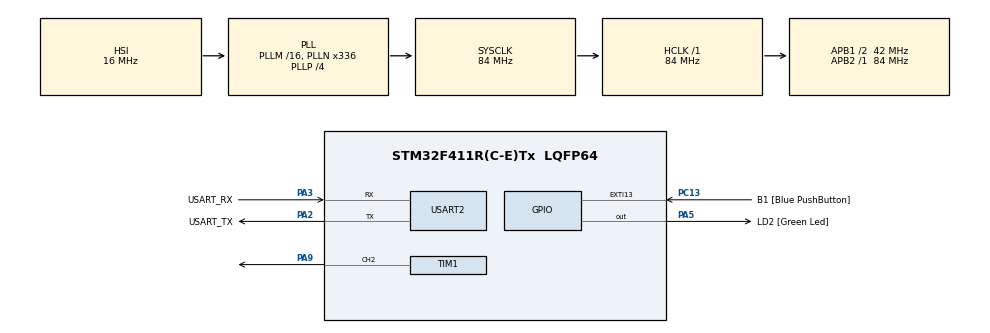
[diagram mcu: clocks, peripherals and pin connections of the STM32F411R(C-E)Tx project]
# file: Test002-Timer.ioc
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Mcu.Family=STM32F4
Mcu.Name=STM32F411R(C-E)Tx
Mcu.Package=LQFP64
NVIC.EXTI15_10_IRQn=true\:0\:0\:false\:false\:true\:true\:true\:true
NVIC.PriorityGroup=NVIC_PRIORITYGROUP_0
NVIC.TIM2_IRQn=true\:0\:0\:false\:false\:true\:true\:true\:true
NVIC.TIM3_IRQn=true\:0\:0\:false\:false\:true\:true\:true\:true
NVIC.TIM4_IRQn=true\:0\:0\:false\:false\:true\:true\:true\:true
PA13.GPIO_Label=TMS
PA13.Mode=Serial_Wire
PA13.Signal=SYS_JTMS-SWDIO
PA14.GPIO_Label=TCK
PA14.Mode=Serial_Wire
PA14.Signal=SYS_JTCK-SWCLK
PA2.GPIO_Label=USART_TX
PA2.Mode=Asynchronous
PA2.Signal=USART2_TX
PA3.GPIO_Label=USART_RX
PA3.Mode=Asynchronous
PA3.Signal=USART2_RX
PA5.GPIO_Label=LD2 [Green Led]
PA5.Signal=GPIO_Output
PA9.Signal=S_TIM1_CH2
PB3.GPIO_Label=SWO
PB3.Signal=SYS_JTDO-SWO
PC13-ANTI_TAMP.GPIO_Label=B1 [Blue PushButton]
PC13-ANTI_TAMP.GPIO_ModeDefaultEXTI=GPIO_MODE_IT_FALLING
PC13-ANTI_TAMP.Signal=GPXTI13
PC14-OSC32_IN.Mode=LSE-External-Oscillator
PC14-OSC32_IN.Signal=RCC_OSC32_IN
PC15-OSC32_OUT.Mode=LSE-External-Oscillator
PC15-OSC32_OUT.Signal=RCC_OSC32_OUT
PH0\ -\ OSC_IN.Mode=HSE-External-Clock-Source
PH0\ -\ OSC_IN.Signal=RCC_OSC_IN
PH1\ -\ OSC_OUT.Mode=HSE-External-Clock-Source
PH1\ -\ OSC_OUT.Signal=RCC_OSC_OUT
ProjectManager.HeapSize=0x200
ProjectManager.StackSize=0x400
ProjectManager.TargetToolchain=STM32CubeIDE
RCC.48MHZClocksFreq_Value=84000000
RCC.AHBFreq_Value=84000000
RCC.APB1CLKDivider=RCC_HCLK_DIV2
RCC.APB1Freq_Value=42000000
RCC.APB1TimFreq_Value=84000000
RCC.APB2Freq_Value=84000000
RCC.APB2TimFreq_Value=84000000
RCC.CortexFreq_Value=84000000
RCC.FLatency-AdvancedSettings=FLASH_LATENCY_2
RCC.HCLKFreq_Value=84000000
RCC.HSE_VALUE=8000000
RCC.HSI_VALUE=16000000
RCC.PLLN=336
RCC.PLLP=RCC_PLLP_DIV4
RCC.SYSCLKFreq_VALUE=84000000
RCC.SYSCLKSource=RCC_SYSCLKSOURCE_PLLCLK
RCC.VCOOutputFreq_Value=336000000
SH.S_TIM1_CH2.0=TIM1_CH2,PWM Generation2 CH2
TIM1.Channel-PWM\ Generation2\ CH2=TIM_CHANNEL_2
TIM1.Period=100-1
TIM1.Prescaler=840-1
TIM2.Period=2000-1
TIM2.Prescaler=8400-1
TIM3.AutoReloadPreload=TIM_AUTORELOAD_PRELOAD_DISABLE
TIM3.Period=30000-1
TIM3.Prescaler=8400-1
TIM4.Period=50000-1
TIM4.Prescaler=8400-1
USART2.VirtualMode=VM_ASYNC
VP_TIM1_VS_ClockSourceINT.Mode=Internal
VP_TIM2_VS_ClockSourceINT.Mode=Internal
VP_TIM3_VS_ClockSourceINT.Mode=Internal
VP_TIM4_VS_ClockSourceINT.Mode=Internal
board=NUCLEO-F411RE

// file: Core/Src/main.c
/* USER CODE BEGIN Header */
/**
  ******************************************************************************
  * @file           : main.c
  * @brief          : Main program body
  ******************************************************************************
  * @attention
  *
  * Copyright (c) 2024 STMicroelectronics.
  * All rights reserved.
  *
  * This software is licensed under terms that can be found in the LICENSE file
  * in the root directory of this software component.
  * If no LICENSE file comes with this software, it is provided AS-IS.
  *
  ******************************************************************************
  */
/* USER CODE END Header */
#include "main.h"

TIM_HandleTypeDef htim1;
TIM_HandleTypeDef htim2;
TIM_HandleTypeDef htim3;
TIM_HandleTypeDef htim4;

UART_HandleTypeDef huart2;

void SystemClock_Config(void);
static void MX_GPIO_Init(void);
static void MX_USART2_UART_Init(void);
static void MX_TIM3_Init(void);
static void MX_TIM2_Init(void);
static void MX_TIM4_Init(void);
static void MX_TIM1_Init(void);

/* USER CODE BEGIN 0 */
int count2=0;
int count3=0;
int op=0;
int x=30, y=10;
void CCR_OP()
{
	if(++op>100) op=0;
	printf("\033[%d;%dHCurrent CCR: %d     \r\n", y, x, op);
}
void HAL_TIM_PeriodElapsedCallback(TIM_HandleTypeDef *htim)
{
	if(htim==&htim2)
	{
		CCR_OP();
		//printf("Timer2 elapsed...%d...Press B1 to continue\r\n", count2++);
	}
	else if(htim==&htim3)
	{
		printf(" >>>>> Timer3 elapsed......\r\n");
	}
	else if(htim==&htim4)  //interval: 5sec
	{
		printf("      Timer4 elapsed...%d\r\n", count3++);
	}

}
void HAL_GPIO_EXTI_Callback(uint16_t GPIO_Pin)
{
//	op++;
//	if(op>1) op=0;

	if(++op>100) op=0;  //pwm?��
	printf("Current CCR: %d \r\n", op);
}

/* USER CODE END 0 */

int main(void)
{

  /* MCU Configuration--------------------------------------------------------*/

  /* Reset of all peripherals, Initializes the Flash interface and the Systick. */
  HAL_Init();

  /* Configure the system clock */
  SystemClock_Config();

  /* Initialize all configured peripherals */
  MX_GPIO_Init();
  MX_USART2_UART_Init();
  MX_TIM3_Init();
  MX_TIM2_Init();
  MX_TIM4_Init();
  MX_TIM1_Init();
  /* USER CODE BEGIN 2 */
  ProgramStart("Timer");  //B1 to start.
  op=0;

  //HAL_TIM_Base_Start_IT(&htim3);  //Interrupt htim3 timer start
  HAL_TIM_Base_Start_IT(&htim2);  //Interrupt htim2 timer start
  //HAL_TIM_Base_Start_IT(&htim4);  //Interrupt htim4 timer start

  HAL_TIM_PWM_Start(&htim1, TIM_CHANNEL_2);

  /* USER CODE END 2 */

  /* Infinite loop */
  /* USER CODE BEGIN WHILE */
  int mode=1;
  while (1)
  {
    /* USER CODE END WHILE */

    /* USER CODE BEGIN 3 */
	  htim1.Instance->CCR2=op;   //ccr?�� pulse width�? ?��?��?
	  if (mode==1)
		  {

			  HAL_GPIO_WritePin(LD2_GPIO_Port, LD2_Pin, 1);
			  HAL_Delay(500);  //500ms
			  HAL_GPIO_WritePin(LD2_GPIO_Port, LD2_Pin, 0);
			  HAL_Delay(500);  //500ms
		  }
  }
  /* USER CODE END 3 */
}

void SystemClock_Config(void)
{
  RCC_OscInitTypeDef RCC_OscInitStruct = {0};
  RCC_ClkInitTypeDef RCC_ClkInitStruct = {0};

  /** Configure the main internal regulator output voltage
  */
  __HAL_RCC_PWR_CLK_ENABLE();
  __HAL_PWR_VOLTAGESCALING_CONFIG(PWR_REGULATOR_VOLTAGE_SCALE1);

  /** Initializes the RCC Oscillators according to the specified parameters
  * in the RCC_OscInitTypeDef structure.
  */
  RCC_OscInitStruct.OscillatorType = RCC_OSCILLATORTYPE_HSI;
  RCC_OscInitStruct.HSIState = RCC_HSI_ON;
  RCC_OscInitStruct.HSICalibrationValue = RCC_HSICALIBRATION_DEFAULT;
  RCC_OscInitStruct.PLL.PLLState = RCC_PLL_ON;
  RCC_OscInitStruct.PLL.PLLSource = RCC_PLLSOURCE_HSI;
  RCC_OscInitStruct.PLL.PLLM = 16;
  RCC_OscInitStruct.PLL.PLLN = 336;
  RCC_OscInitStruct.PLL.PLLP = RCC_PLLP_DIV4;
  RCC_OscInitStruct.PLL.PLLQ = 4;
  if (HAL_RCC_OscConfig(&RCC_OscInitStruct) != HAL_OK)
  {
    Error_Handler();
  }

  /** Initializes the CPU, AHB and APB buses clocks
  */
  RCC_ClkInitStruct.ClockType = RCC_CLOCKTYPE_HCLK|RCC_CLOCKTYPE_SYSCLK
                              |RCC_CLOCKTYPE_PCLK1|RCC_CLOCKTYPE_PCLK2;
  RCC_ClkInitStruct.SYSCLKSource = RCC_SYSCLKSOURCE_PLLCLK;
  RCC_ClkInitStruct.AHBCLKDivider = RCC_SYSCLK_DIV1;
  RCC_ClkInitStruct.APB1CLKDivider = RCC_HCLK_DIV2;
  RCC_ClkInitStruct.APB2CLKDivider = RCC_HCLK_DIV1;

  if (HAL_RCC_ClockConfig(&RCC_ClkInitStruct, FLASH_LATENCY_2) != HAL_OK)
  {
    Error_Handler();
  }
}

static void MX_TIM1_Init(void)
{

  TIM_ClockConfigTypeDef sClockSourceConfig = {0};
  TIM_MasterConfigTypeDef sMasterConfig = {0};
  TIM_OC_InitTypeDef sConfigOC = {0};
  TIM_BreakDeadTimeConfigTypeDef sBreakDeadTimeConfig = {0};

  htim1.Instance = TIM1;
  htim1.Init.Prescaler = 840-1;
  htim1.Init.CounterMode = TIM_COUNTERMODE_UP;
  htim1.Init.Period = 100-1;
  htim1.Init.ClockDivision = TIM_CLOCKDIVISION_DIV1;
  htim1.Init.RepetitionCounter = 0;
  htim1.Init.AutoReloadPreload = TIM_AUTORELOAD_PRELOAD_DISABLE;
  if (HAL_TIM_Base_Init(&htim1) != HAL_OK)
  {
    Error_Handler();
  }
  sClockSourceConfig.ClockSource = TIM_CLOCKSOURCE_INTERNAL;
  if (HAL_TIM_ConfigClockSource(&htim1, &sClockSourceConfig) != HAL_OK)
  {
    Error_Handler();
  }
  if (HAL_TIM_PWM_Init(&htim1) != HAL_OK)
  {
    Error_Handler();
  }
  sMasterConfig.MasterOutputTrigger = TIM_TRGO_RESET;
  sMasterConfig.MasterSlaveMode = TIM_MASTERSLAVEMODE_DISABLE;
  if (HAL_TIMEx_MasterConfigSynchronization(&htim1, &sMasterConfig) != HAL_OK)
  {
    Error_Handler();
  }
  sConfigOC.OCMode = TIM_OCMODE_PWM1;
  sConfigOC.Pulse = 0;
  sConfigOC.OCPolarity = TIM_OCPOLARITY_HIGH;
  sConfigOC.OCNPolarity = TIM_OCNPOLARITY_HIGH;
  sConfigOC.OCFastMode = TIM_OCFAST_DISABLE;
  sConfigOC.OCIdleState = TIM_OCIDLESTATE_RESET;
  sConfigOC.OCNIdleState = TIM_OCNIDLESTATE_RESET;
  if (HAL_TIM_PWM_ConfigChannel(&htim1, &sConfigOC, TIM_CHANNEL_2) != HAL_OK)
  {
    Error_Handler();
  }
  sBreakDeadTimeConfig.OffStateRunMode = TIM_OSSR_DISABLE;
  sBreakDeadTimeConfig.OffStateIDLEMode = TIM_OSSI_DISABLE;
  sBreakDeadTimeConfig.LockLevel = TIM_LOCKLEVEL_OFF;
  sBreakDeadTimeConfig.DeadTime = 0;
  sBreakDeadTimeConfig.BreakState = TIM_BREAK_DISABLE;
  sBreakDeadTimeConfig.BreakPolarity = TIM_BREAKPOLARITY_HIGH;
  sBreakDeadTimeConfig.AutomaticOutput = TIM_AUTOMATICOUTPUT_DISABLE;
  if (HAL_TIMEx_ConfigBreakDeadTime(&htim1, &sBreakDeadTimeConfig) != HAL_OK)
  {
    Error_Handler();
  }
  HAL_TIM_MspPostInit(&htim1);

}

static void MX_TIM2_Init(void)
{

  TIM_ClockConfigTypeDef sClockSourceConfig = {0};
  TIM_MasterConfigTypeDef sMasterConfig = {0};

  htim2.Instance = TIM2;
  htim2.Init.Prescaler = 8400-1;
  htim2.Init.CounterMode = TIM_COUNTERMODE_UP;
  htim2.Init.Period = 2000-1;
  htim2.Init.ClockDivision = TIM_CLOCKDIVISION_DIV1;
  htim2.Init.AutoReloadPreload = TIM_AUTORELOAD_PRELOAD_DISABLE;
  if (HAL_TIM_Base_Init(&htim2) != HAL_OK)
  {
    Error_Handler();
  }
  sClockSourceConfig.ClockSource = TIM_CLOCKSOURCE_INTERNAL;
  if (HAL_TIM_ConfigClockSource(&htim2, &sClockSourceConfig) != HAL_OK)
  {
    Error_Handler();
  }
  sMasterConfig.MasterOutputTrigger = TIM_TRGO_RESET;
  sMasterConfig.MasterSlaveMode = TIM_MASTERSLAVEMODE_DISABLE;
  if (HAL_TIMEx_MasterConfigSynchronization(&htim2, &sMasterConfig) != HAL_OK)
  {
    Error_Handler();
  }

}

static void MX_TIM3_Init(void)
{

  TIM_ClockConfigTypeDef sClockSourceConfig = {0};
  TIM_MasterConfigTypeDef sMasterConfig = {0};

  htim3.Instance = TIM3;
  htim3.Init.Prescaler = 8400-1;
  htim3.Init.CounterMode = TIM_COUNTERMODE_UP;
  htim3.Init.Period = 30000-1;
  htim3.Init.ClockDivision = TIM_CLOCKDIVISION_DIV1;
  htim3.Init.AutoReloadPreload = TIM_AUTORELOAD_PRELOAD_DISABLE;
  if (HAL_TIM_Base_Init(&htim3) != HAL_OK)
  {
    Error_Handler();
  }
  sClockSourceConfig.ClockSource = TIM_CLOCKSOURCE_INTERNAL;
  if (HAL_TIM_ConfigClockSource(&htim3, &sClockSourceConfig) != HAL_OK)
  {
    Error_Handler();
  }
  sMasterConfig.MasterOutputTrigger = TIM_TRGO_RESET;
  sMasterConfig.MasterSlaveMode = TIM_MASTERSLAVEMODE_DISABLE;
  if (HAL_TIMEx_MasterConfigSynchronization(&htim3, &sMasterConfig) != HAL_OK)
  {
    Error_Handler();
  }

}

static void MX_TIM4_Init(void)
{

  TIM_ClockConfigTypeDef sClockSourceConfig = {0};
  TIM_MasterConfigTypeDef sMasterConfig = {0};

  htim4.Instance = TIM4;
  htim4.Init.Prescaler = 8400-1;
  htim4.Init.CounterMode = TIM_COUNTERMODE_UP;
  htim4.Init.Period = 50000-1;
  htim4.Init.ClockDivision = TIM_CLOCKDIVISION_DIV1;
  htim4.Init.AutoReloadPreload = TIM_AUTORELOAD_PRELOAD_DISABLE;
  if (HAL_TIM_Base_Init(&htim4) != HAL_OK)
  {
    Error_Handler();
  }
  sClockSourceConfig.ClockSource = TIM_CLOCKSOURCE_INTERNAL;
  if (HAL_TIM_ConfigClockSource(&htim4, &sClockSourceConfig) != HAL_OK)
  {
    Error_Handler();
  }
  sMasterConfig.MasterOutputTrigger = TIM_TRGO_RESET;
  sMasterConfig.MasterSlaveMode = TIM_MASTERSLAVEMODE_DISABLE;
  if (HAL_TIMEx_MasterConfigSynchronization(&htim4, &sMasterConfig) != HAL_OK)
  {
    Error_Handler();
  }

}

static void MX_USART2_UART_Init(void)
{

  huart2.Instance = USART2;
  huart2.Init.BaudRate = 115200;
  huart2.Init.WordLength = UART_WORDLENGTH_8B;
  huart2.Init.StopBits = UART_STOPBITS_1;
  huart2.Init.Parity = UART_PARITY_NONE;
  huart2.Init.Mode = UART_MODE_TX_RX;
  huart2.Init.HwFlowCtl = UART_HWCONTROL_NONE;
  huart2.Init.OverSampling = UART_OVERSAMPLING_16;
  if (HAL_UART_Init(&huart2) != HAL_OK)
  {
    Error_Handler();
  }

}

static void MX_GPIO_Init(void)
{
  GPIO_InitTypeDef GPIO_InitStruct = {0};

  /* GPIO Ports Clock Enable */
  __HAL_RCC_GPIOC_CLK_ENABLE();
  __HAL_RCC_GPIOH_CLK_ENABLE();
  __HAL_RCC_GPIOA_CLK_ENABLE();
  __HAL_RCC_GPIOB_CLK_ENABLE();

  /*Configure GPIO pin Output Level */
  HAL_GPIO_WritePin(LD2_GPIO_Port, LD2_Pin, GPIO_PIN_RESET);

  /*Configure GPIO pin : B1_Pin */
  GPIO_InitStruct.Pin = B1_Pin;
  GPIO_InitStruct.Mode = GPIO_MODE_IT_FALLING;
  GPIO_InitStruct.Pull = GPIO_NOPULL;
  HAL_GPIO_Init(B1_GPIO_Port, &GPIO_InitStruct);

  /*Configure GPIO pin : LD2_Pin */
  GPIO_InitStruct.Pin = LD2_Pin;
  GPIO_InitStruct.Mode = GPIO_MODE_OUTPUT_PP;
  GPIO_InitStruct.Pull = GPIO_NOPULL;
  GPIO_InitStruct.Speed = GPIO_SPEED_FREQ_LOW;
  HAL_GPIO_Init(LD2_GPIO_Port, &GPIO_InitStruct);

  /* EXTI interrupt init*/
  HAL_NVIC_SetPriority(EXTI15_10_IRQn, 0, 0);
  HAL_NVIC_EnableIRQ(EXTI15_10_IRQn);

}

void Error_Handler(void)
{
  __disable_irq();
  while (1)
  {
  }
}
